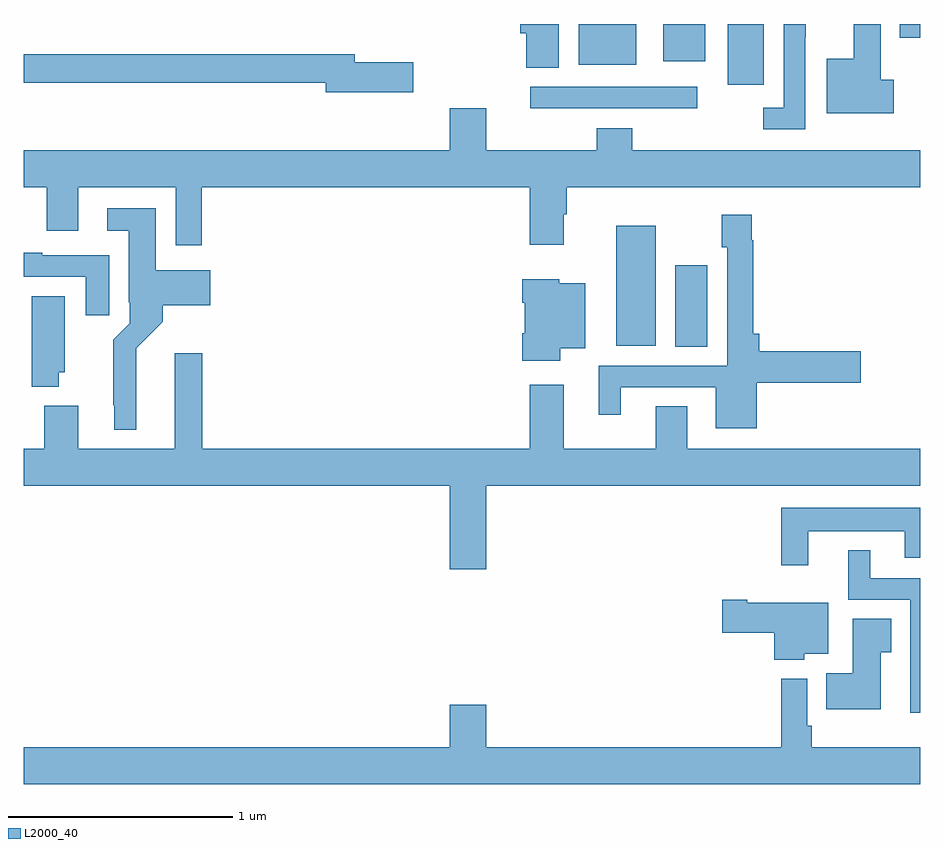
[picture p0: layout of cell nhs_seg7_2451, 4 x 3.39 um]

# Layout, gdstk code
import gdstk
lib = gdstk.Library(unit=1e-6, precision=1e-09)
def R(c, l, rs):  # rectangles x0, y0, x1, y1
    for r in rs: c.add(gdstk.rectangle(r[:2], r[2:], *l))
def P(c, l, *ps):  # polygons
    for p in ps: c.add(gdstk.Polygon(p, *l))
L2000_40 = (2000, 40)

nhs_seg7_2451 = lib.new_cell('nhs_seg7_2451')
R(nhs_seg7_2451, L2000_40, [(273.908,1010.56,274.051,1010.923), (273.644,1010.564,273.82,1011.1), (273.261,1011.624,274.006,1011.72), (274.142,1011.729,274.303,1012), (273.476,1011.818,273.733,1012), (273.854,1011.833,274.042,1012), (274.91,1011.938,275,1012)])
P(nhs_seg7_2451, L2000_40, [(274.488,1011.94),(274.49,1011.94),(274.49,1012),(274.392,1012),(274.392,1011.627),(274.299,1011.627),(274.299,1011.531),(274.488,1011.531)],
  [(274.882,1011.752),(274.825,1011.752),(274.825,1012),(274.703,1012),(274.703,1011.844),(274.583,1011.844),(274.583,1011.602),(274.882,1011.602)],
  [(273.388,1012),(273.215,1012),(273.215,1011.959),(273.242,1011.959),(273.242,1011.805),(273.388,1011.805)],
  [(272.737,1011.83),(272.476,1011.83),(272.476,1011.866),(271,1011.866),(271,1011.738),(272.348,1011.738),(272.348,1011.695),(272.737,1011.695)],
  [(271.793,1011.272),(273.257,1011.272),(273.257,1011.015),(273.409,1011.015),(273.409,1011.152),(273.422,1011.152),(273.422,1011.272),(275,1011.272),(275,1011.436),(273.716,1011.436),(273.716,1011.535),(273.556,1011.535),(273.556,1011.436),(273.064,1011.436),(273.064,1011.625),(272.9,1011.625),(272.9,1011.436),(271,1011.436),(271,1011.272),(271.103,1011.272),(271.103,1011.078),(271.243,1011.078),(271.243,1011.272),(271.677,1011.272),(271.677,1011.012),(271.793,1011.012)],
  [(271.501,1010.552),(271.619,1010.67),(271.619,1010.744),(271.831,1010.744),(271.831,1010.902),(271.588,1010.902),(271.588,1011.178),(271.371,1011.178),(271.371,1011.077),(271.469,1011.077),(271.469,1010.758),(271.473,1010.758),(271.473,1010.664),(271.399,1010.59),(271.399,1010.299),(271.403,1010.299),(271.403,1010.189),(271.501,1010.189)],
  [(274.27,1010.398),(274.735,1010.398),(274.735,1010.54),(274.283,1010.54),(274.283,1010.617),(274.256,1010.617),(274.256,1011.035),(274.249,1011.035),(274.249,1011.148),(274.114,1011.148),(274.114,1011.003),(274.14,1011.003),(274.14,1010.475),(273.566,1010.475),(273.566,1010.256),(273.664,1010.256),(273.664,1010.379),(274.088,1010.379),(274.088,1010.195),(274.27,1010.195)],
  [(271.381,1010.967),(271.081,1010.967),(271.081,1010.98),(271,1010.98),(271,1010.871),(271.277,1010.871),(271.277,1010.7),(271.381,1010.7)],
  [(273.394,1010.552),(273.505,1010.552),(273.505,1010.842),(273.39,1010.842),(273.39,1010.86),(273.224,1010.86),(273.224,1010.756),(273.236,1010.756),(273.236,1010.62),(273.224,1010.62),(273.224,1010.498),(273.394,1010.498)],
  [(271.156,1010.445),(271.183,1010.445),(271.183,1010.786),(271.034,1010.786),(271.034,1010.381),(271.156,1010.381)],
  [(275,1010.104),(273.961,1010.104),(273.961,1010.294),(273.821,1010.294),(273.821,1010.104),(273.409,1010.104),(273.409,1010.389),(273.257,1010.389),(273.257,1010.104),(271.796,1010.104),(271.796,1010.53),(271.673,1010.53),(271.673,1010.104),(271.243,1010.104),(271.243,1010.296),(271.091,1010.296),(271.091,1010.104),(271,1010.104),(271,1009.94),(272.9,1009.94),(272.9,1009.566),(273.064,1009.566),(273.064,1009.94),(275,1009.94)],
  [(274.501,1009.736),(274.931,1009.736),(274.931,1009.617),(275,1009.617),(275,1009.84),(274.38,1009.84),(274.38,1009.584),(274.501,1009.584)],
  [(275,1009.527),(274.777,1009.527),(274.777,1009.651),(274.679,1009.651),(274.679,1009.431),(274.956,1009.431),(274.956,1008.927),(275,1008.927)],
  [(274.482,1009.19),(274.591,1009.19),(274.591,1009.417),(274.228,1009.417),(274.228,1009.43),(274.116,1009.43),(274.116,1009.283),(274.349,1009.283),(274.349,1009.163),(274.482,1009.163)],
  [(274.825,1009.195),(274.871,1009.195),(274.871,1009.346),(274.7,1009.346),(274.7,1009.102),(274.582,1009.102),(274.582,1008.941),(274.825,1008.941)],
  [(275,1008.772),(274.517,1008.772),(274.517,1008.868),(274.497,1008.868),(274.497,1009.078),(274.381,1009.078),(274.381,1008.772),(273.064,1008.772),(273.064,1008.961),(272.9,1008.961),(272.9,1008.772),(271,1008.772),(271,1008.608),(275,1008.608)])

lib.write_gds('nhs_seg7_2451.gds')
